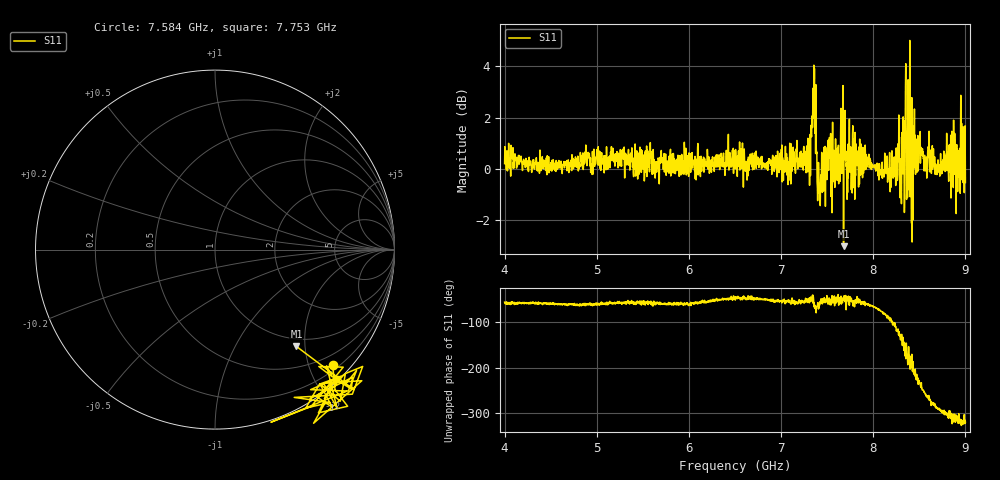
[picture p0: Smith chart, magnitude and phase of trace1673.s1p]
! Created with skrf 1.8.0 (http://scikit-rf.org).
# Hz S RI R 50.0
!freq ReS11 ImS11
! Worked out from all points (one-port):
!   1601 points, 4 GHz to 9 GHz, reference 50 ohm
!   lowest |S11| = -3.0 dB at 7.678 GHz (marker M1), VSWR 5.78, Z = 42.6 - j91.5 ohm
!   |S11| at or under -10 dB: nowhere
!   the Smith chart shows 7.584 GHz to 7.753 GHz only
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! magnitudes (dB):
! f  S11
! 4 GHz  0.2
! 4.625 GHz  -0.2
! 5.25 GHz  0.1
! 5.875 GHz  0.4
! 6.5 GHz  0.5
! 7.125 GHz  0.4
! 7.294 GHz  0.3
! 7.353 GHz  2.0
! 7.369 GHz  3.3
! 7.412 GHz  -0.8
! 7.512 GHz  1.1
! 7.566 GHz  -0.5
! 7.678 GHz  -3.0
! 7.703 GHz  0.7
! 7.75 GHz  0.7
! 7.784 GHz  -0.4
! 8.097 GHz  0.3
! 8.259 GHz  0.8
! 8.316 GHz  -0.1
! 8.334 GHz  0.6
! 8.356 GHz  1.8
! 8.375 GHz  1.9
! 8.441 GHz  1.7
! 8.459 GHz  -0.2
! 8.697 GHz  0.1
! 8.869 GHz  -0.7
! 8.972 GHz  0.5
! 9 GHz  -0.5
